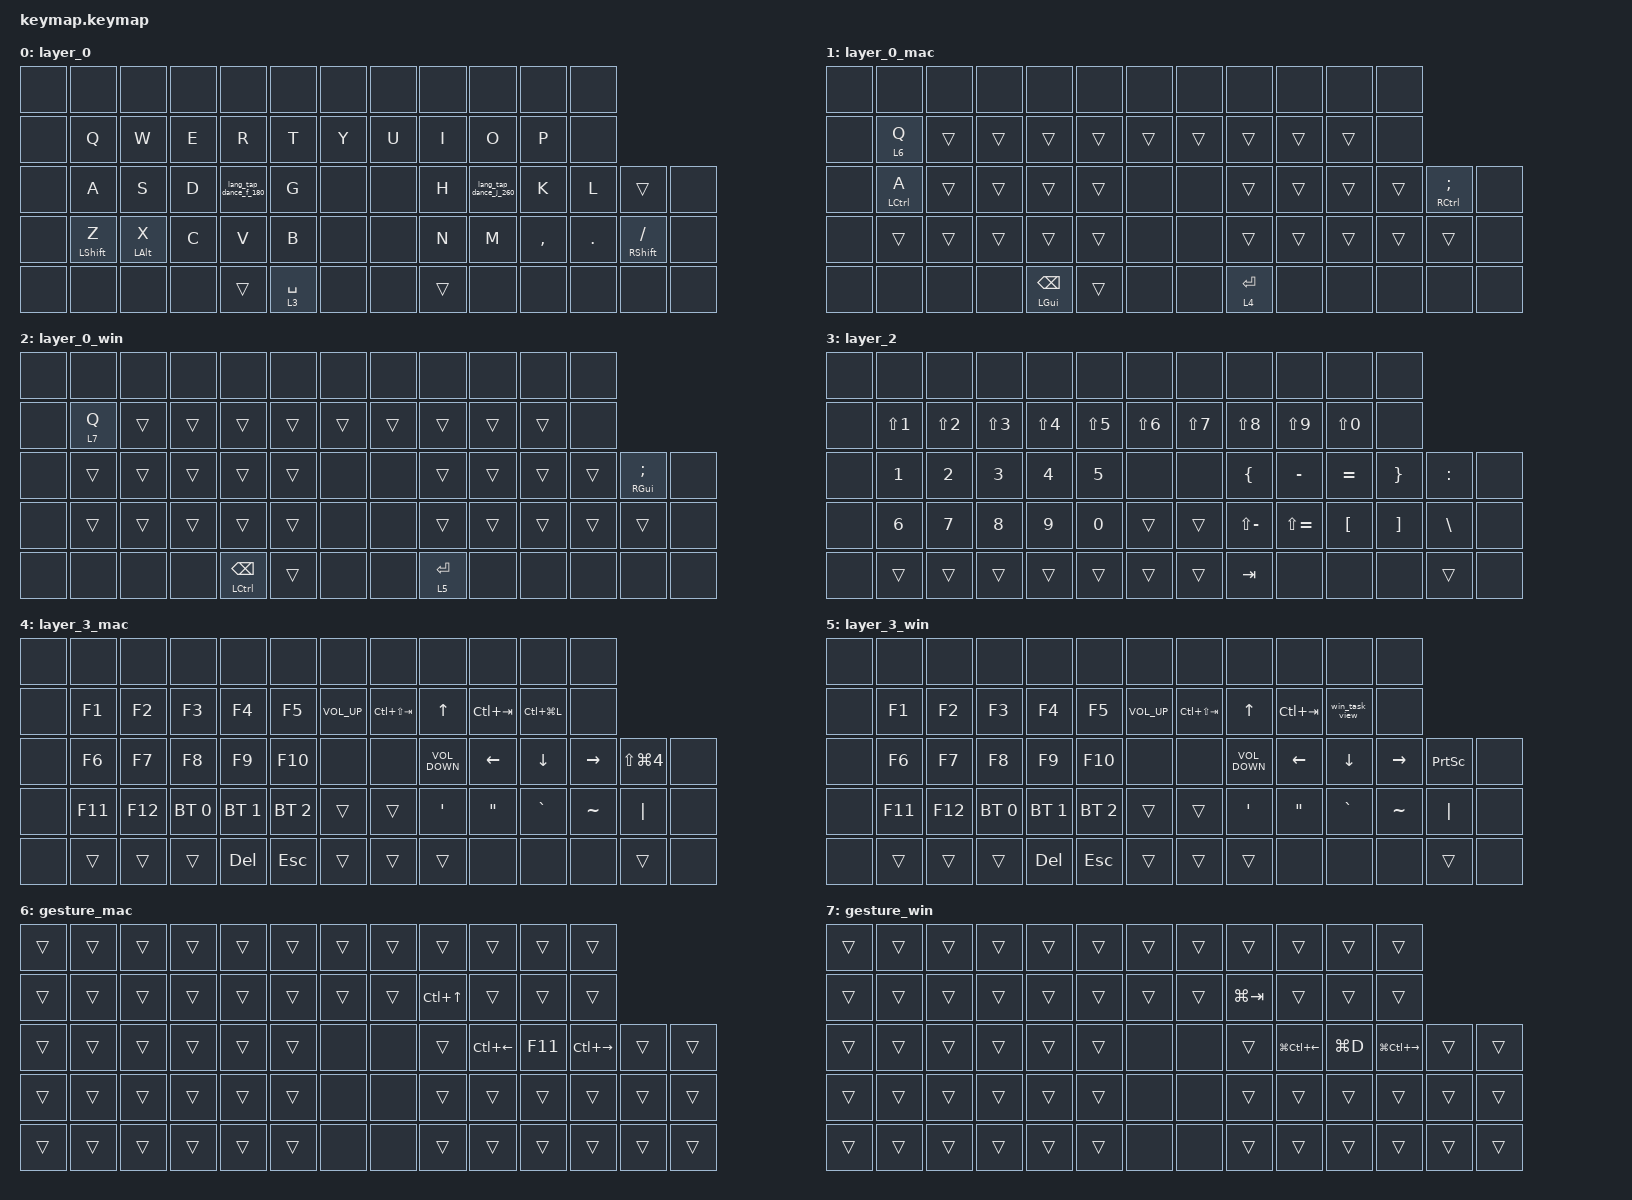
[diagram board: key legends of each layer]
#include <behaviors.dtsi>
#include <dt-bindings/zmk/bt.h>
#include <dt-bindings/zmk/keys.h>
#include <dt-bindings/zmk/pointing.h>

/ {
    combos {
        compatible = "zmk,combos";

        bt_clear {
            bindings = <&bt BT_CLR>;
            key-positions = <23 24>;
            layers = <4 5>;
        };

        left_click {
            bindings = <&mkp LCLK>;
            key-positions = <16 17>;
            layers = <1 2>;
            slow-release;
            timeout-ms = <100>;
        };

        right_click {
            bindings = <&mkp RCLK>;
            key-positions = <17 18>;
            layers = <1 2>;
            slow-release;
            timeout-ms = <100>;
        };

        scroll_layer {
            bindings = <&mo 3>;
            key-positions = <28 29>;
            slow-release;
            layers = <1 2>;
            timeout-ms = <100>;
        };

        shift2 {
            bindings = <&double_tap LEFT_SHIFT>;
            key-positions = <21 20>;
        };
    };

    behaviors {
        lang_tap_dance: lang_tap_dance {
            compatible = "zmk,behavior-tap-dance";
            label = "LANG_TAP_DANCE";
            #binding-cells = <0>;
            bindings = <&kp LANG2>, <&kp LANG1>;

            tapping-term-ms = <300>;
        };

        custom_mt: custom_mt {
            compatible = "zmk,behavior-hold-tap";
            label = "CUSTOM_MT";
            bindings = <&kp>, <&kp>;

            #binding-cells = <2>;
            tapping-term-ms = <200>;
            quick-tap-ms = <300>;
            flavor = "tap-preferred";
        };

        lang_tap_dance_f_180: lang_tap_dance_f_180 {
            compatible = "zmk,behavior-tap-dance";
            label = "LANG_TAP_DANCE_F_180";
            #binding-cells = <0>;
            tapping-term-ms = <180>;
            bindings = <&kp F>, <&kp LANG2>;
        };

        lang_tap_dance_j_240: lang_tap_dance_j_240 {
            compatible = "zmk,behavior-tap-dance";
            label = "LANG_TAP_DANCE_J_240";
            #binding-cells = <0>;
            tapping-term-ms = <240>;
            bindings = <&kp J>, <&kp LANG1>;
        };

        lang_tap_dance_f_160: lang_tap_dance_f_160 {
            compatible = "zmk,behavior-tap-dance";
            label = "LANG_TAP_DANCE_F_160";
            #binding-cells = <0>;
            tapping-term-ms = <160>;
            bindings = <&kp F>, <&kp LANG2>;
        };

        lang_tap_dance_j_260: lang_tap_dance_j_260 {
            compatible = "zmk,behavior-tap-dance";
            label = "LANG_TAP_DANCE_J_260";
            #binding-cells = <0>;
            tapping-term-ms = <260>;
            bindings = <&kp J>, <&kp LANG1>;
        };

        custom_lt: custom_lt {
            compatible = "zmk,behavior-hold-tap";
            label = "CUSTOM_LT";
            #binding-cells = <2>;
            tapping-term-ms = <200>;
            quick-tap-ms = <300>;
            flavor = "tap-preferred";
            bindings = <&mo>, <&kp>;
        };
    };

    macros {
        win_task_view: win_task_view {
            compatible = "zmk,behavior-macro";
            #binding-cells = <0>;
            bindings =
                <&macro_press>,
                <&kp LEFT_WIN>,
                <&macro_tap>,
                <&kp TAB>,
                <&macro_release>,
                <&kp LEFT_WIN>;

            label = "WIN_TASK_VIEW";
        };

        double_tap: double_tap {
            compatible = "zmk,behavior-macro-one-param";
            #binding-cells = <1>;
            bindings =
                <&macro_tap>,
                <&macro_param_1to1 &kp MACRO_PLACEHOLDER>,
                <&macro_wait_time 100>,
                <&macro_tap>,
                <&macro_param_1to1 &kp MACRO_PLACEHOLDER>;

            label = "double_tap";
        };
    };

    keymap {
        compatible = "zmk,keymap";

        // 0: 共通ベース（常時有効）。OS 固有キーは layer_0_mac / layer_0_win 側で上書きする。
        layer_0 {
            bindings = <
&none  &none   &none   &none   &none   &none   &none   &none   &none   &none   &none   &none
&none  &kp Q  &kp W  &kp E   &kp R   &kp T   &kp Y   &kp U   &kp I   &kp O   &kp P   &none
&none  &kp A                    &kp S                  &kp D  &lang_tap_dance_f_180  &kp G             &none  &none  &kp H               &lang_tap_dance_j_260  &kp K      &kp L    &trans                       &none
&none  &custom_mt LEFT_SHIFT Z  &custom_mt LEFT_ALT X  &kp C  &kp V               &kp B               &none  &none  &kp N               &kp M                  &kp COMMA  &kp DOT  &custom_mt RIGHT_SHIFT FSLH  &none
&none  &none                    &none                  &none  &trans              &custom_lt 3 SPACE  &none  &none  &trans              &none                  &none      &none    &none                        &none
            >;
        };

        // 1: Mac 固有の上書き（profile 0 でこのレイヤーを常時 ON にする）
        layer_0_mac {
            bindings = <
&none  &none   &none   &none   &none   &none   &none   &none   &none   &none   &none   &none
&none  &custom_lt 6 Q  &trans  &trans  &trans  &trans  &trans  &trans  &trans  &trans  &trans  &none
&none  &custom_mt LEFT_CONTROL A  &trans  &trans  &trans                  &trans  &none  &none  &trans  &trans              &trans  &trans  &custom_mt RIGHT_CONTROL SEMI  &none
&none  &trans              &trans  &trans  &trans                  &trans  &none  &none  &trans  &trans              &trans  &trans  &trans                 &none
&none  &none               &none   &none   &custom_mt LEFT_GUI BACKSPACE  &trans  &none  &none  &custom_lt 4 ENTER  &none   &none   &none   &none                  &none
            >;
        };

        // 2: Windows 固有の上書き（profile != 0 でこのレイヤーを常時 ON にする）
        layer_0_win {
            bindings = <
&none  &none   &none                  &none   &none   &none   &none   &none   &none   &none   &none   &none
&none  &custom_lt 7 Q  &trans  &trans  &trans  &trans  &trans  &trans  &trans  &trans  &trans  &none
&none  &trans  &trans                 &trans  &trans                             &trans  &none  &none  &trans  &trans              &trans  &trans  &mt RIGHT_GUI SEMI  &none
&none  &trans  &trans                 &trans  &trans                             &trans  &none  &none  &trans  &trans              &trans  &trans  &trans              &none
&none  &none   &none                  &none   &custom_mt LEFT_CONTROL BACKSPACE  &trans  &none  &none  &custom_lt 5 ENTER  &none   &none   &none   &none               &none
            >;
        };

        // 3
        layer_2 {
            bindings = <
&none  &none             &none             &none       &none       &none                       &none           &none          &none             &none              &none          &none
&none  &kp LS(NUMBER_1)  &kp LS(NUMBER_2)  &kp LS(N3)  &kp LS(N4)  &kp LS(N5)                  &kp LS(N6)      &kp LS(N7)     &kp LS(N8)        &kp LS(N9)         &kp LS(N0)     &none
&none  &kp N1            &kp N2            &kp N3      &kp N4      &kp N5      &none   &none   &kp LEFT_BRACE  &kp MINUS      &kp EQUAL         &kp RIGHT_BRACE    &kp COLON      &none
&none  &kp N6            &kp N7            &kp N8      &kp N9      &kp N0      &trans  &trans  &kp LS(MINUS)   &kp LS(EQUAL)  &kp LEFT_BRACKET  &kp RIGHT_BRACKET  &kp BACKSLASH  &none
&none  &trans            &trans            &trans      &trans      &trans      &trans  &trans  &kp TAB         &none          &none             &none              &trans         &none
            >;
        };

        // 4
        layer_3_mac {
            bindings = <
&none  &none    &none    &none         &none         &none                         &none              &none            &none         &none        &none                 &none
&none  &kp F1   &kp F2   &kp F3        &kp F4        &kp F5                        &kp C_VOLUME_UP    &kp LC(LS(TAB))  &kp UP_ARROW  &kp LC(TAB)  &kp LC(LG(L))         &none
&none  &kp F6   &kp F7   &kp F8        &kp F9        &kp F10       &none   &none   &kp C_VOLUME_DOWN  &kp LEFT         &kp DOWN      &kp RIGHT    &kp LS(LG(NUMBER_4))  &none
&none  &kp F11  &kp F12  &bt BT_SEL 0  &bt BT_SEL 1  &bt BT_SEL 2  &trans  &trans  &kp SINGLE_QUOTE   &kp DQT          &kp GRAVE     &kp TILDE    &kp PIPE              &none
&none  &trans   &trans   &trans        &kp DELETE    &kp ESC       &trans  &trans  &trans             &none            &none         &none        &trans                &none
            >;
        };

        // 5
        layer_3_win {
            bindings = <
&none  &none    &none    &none         &none         &none                         &none             &none            &none         &none        &none            &none
&none  &kp F1   &kp F2   &kp F3        &kp F4        &kp F5                        &kp C_VOLUME_UP    &kp LC(LS(TAB))  &kp UP_ARROW  &kp LC(TAB)  &win_task_view   &none
&none  &kp F6   &kp F7   &kp F8        &kp F9        &kp F10       &none   &none   &kp C_VOLUME_DOWN  &kp LEFT         &kp DOWN      &kp RIGHT    &kp PRINTSCREEN  &none
&none  &kp F11  &kp F12  &bt BT_SEL 0  &bt BT_SEL 1  &bt BT_SEL 2  &trans  &trans  &kp SINGLE_QUOTE  &kp DQT          &kp GRAVE     &kp TILDE    &kp PIPE         &none
&none  &trans   &trans   &trans        &kp DELETE    &kp ESC       &trans  &trans  &trans            &none            &none         &none        &trans           &none
            >;
        };

        // 6: ジェスチャ代替（Mac）。Q ホールドで有効化、i/j/k/l = ↑/←/↓/→
        gesture_mac {
            bindings = <
&trans  &trans  &trans  &trans  &trans  &trans  &trans  &trans  &trans      &trans        &trans   &trans
&trans  &trans  &trans  &trans  &trans  &trans  &trans  &trans  &kp LC(UP)  &trans        &trans   &trans
&trans  &trans  &trans  &trans  &trans  &trans  &none   &none   &trans      &kp LC(LEFT)  &kp F11  &kp LC(RIGHT)  &trans  &trans
&trans  &trans  &trans  &trans  &trans  &trans  &none   &none   &trans      &trans        &trans   &trans         &trans  &trans
&trans  &trans  &trans  &trans  &trans  &trans  &none   &none   &trans      &trans        &trans   &trans         &trans  &trans
            >;
        };

        // 7: ジェスチャ代替（Windows）。Q ホールドで有効化、i/j/k/l = ↑/←/↓/→
        gesture_win {
            bindings = <
&trans  &trans  &trans  &trans  &trans  &trans  &trans  &trans  &trans       &trans            &trans     &trans
&trans  &trans  &trans  &trans  &trans  &trans  &trans  &trans  &kp LG(TAB)  &trans            &trans     &trans
&trans  &trans  &trans  &trans  &trans  &trans  &none   &none   &trans       &kp LG(LC(LEFT))  &kp LG(D)  &kp LG(LC(RIGHT))  &trans  &trans
&trans  &trans  &trans  &trans  &trans  &trans  &none   &none   &trans       &trans            &trans     &trans             &trans  &trans
&trans  &trans  &trans  &trans  &trans  &trans  &none   &none   &trans       &trans            &trans     &trans             &trans  &trans
            >;
        };
    };
};
